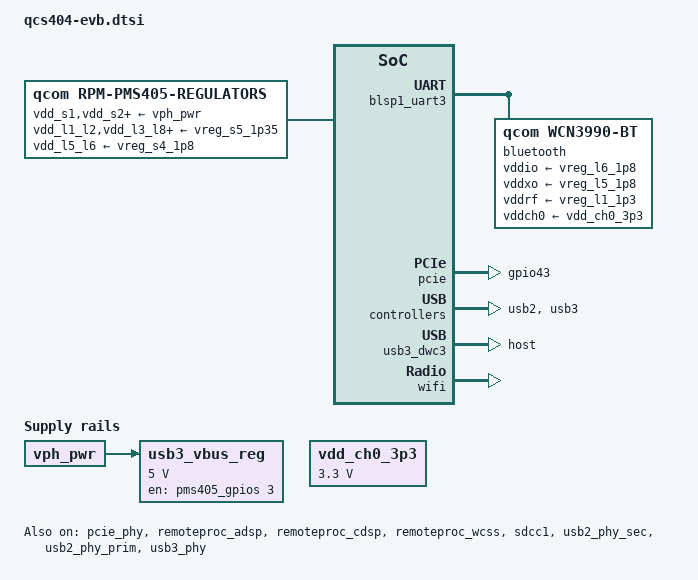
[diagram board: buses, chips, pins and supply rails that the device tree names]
// SPDX-License-Identifier: GPL-2.0
// Copyright (c) 2018, Linaro Limited

#include <dt-bindings/gpio/gpio.h>
#include "qcs404.dtsi"
#include "pms405.dtsi"
#include <dt-bindings/gpio/gpio.h>
#include <dt-bindings/pinctrl/qcom,pmic-gpio.h>

/ {
	aliases {
		serial0 = &blsp1_uart2;
		serial1 = &blsp1_uart3;
	};

	chosen {
		stdout-path = "serial0";
	};

	vph_pwr: vph-pwr-regulator {
		compatible = "regulator-fixed";
		regulator-name = "vph_pwr";
		regulator-always-on;
		regulator-boot-on;
	};

	vdd_ch0_3p3:
	vdd_esmps3_3p3: vdd-esmps3-3p3-regulator {
		compatible = "regulator-fixed";
		regulator-name = "eSMPS3_3P3";

		regulator-min-microvolt = <3300000>;
		regulator-max-microvolt = <3300000>;
		regulator-always-on;
	};

	usb3_vbus_reg: regulator-usb3-vbus {
		compatible = "regulator-fixed";
		regulator-name = "VBUS_BOOST_5V";
		regulator-min-microvolt = <5000000>;
		regulator-max-microvolt = <5000000>;
		gpio = <&pms405_gpios 3 GPIO_ACTIVE_HIGH>;
		pinctrl-names = "default";
		pinctrl-0 = <&usb_vbus_boost_pin>;
		vin-supply = <&vph_pwr>;
		enable-active-high;

		/* TODO: Drop this when introducing role switching */
		regulator-always-on;
	};
};

&blsp1_uart3 {
	status = "okay";

	bluetooth {
		compatible = "qcom,wcn3990-bt";
		vddio-supply = <&vreg_l6_1p8>;
		vddxo-supply = <&vreg_l5_1p8>;
		vddrf-supply = <&vreg_l1_1p3>;
		vddch0-supply = <&vdd_ch0_3p3>;

		local-bd-address = [ 00 00 00 00 00 00 ];

		max-speed = <3200000>;
	};
};

&blsp1_dma {
	qcom,controlled-remotely;
};

&blsp2_dma {
	qcom,controlled-remotely;
};

&gcc {
	protected-clocks = <GCC_BIMC_CDSP_CLK>,
			   <GCC_CDSP_CFG_AHB_CLK>,
			   <GCC_CDSP_BIMC_CLK_SRC>,
			   <GCC_CDSP_TBU_CLK>,
			   <141>, /* GCC_WCSS_Q6_AHB_CLK */
			   <142>; /* GCC_WCSS_Q6_AXIM_CLK */
};

&pms405_spmi_regulators {
	vdd_s3-supply = <&vph_pwr>;

	pms405_s3: s3 {
		regulator-always-on;
		regulator-boot-on;
		regulator-name = "vdd_apc";
		regulator-initial-mode = <1>;
		regulator-min-microvolt = <1048000>;
		regulator-max-microvolt = <1384000>;
	};
};

&pcie {
	status = "okay";

	perst-gpios = <&tlmm 43 GPIO_ACTIVE_LOW>;

	pinctrl-names = "default";
	pinctrl-0 = <&perst_state>;
};

&pcie_phy {
	status = "okay";

	vdda-vp-supply = <&vreg_l3_1p05>;
	vdda-vph-supply = <&vreg_l5_1p8>;
};

&remoteproc_adsp {
	status = "okay";
};

&remoteproc_cdsp {
	status = "okay";
};

&remoteproc_wcss {
	status = "okay";
};

&rpm_requests {
	pms405-regulators {
		compatible = "qcom,rpm-pms405-regulators";

		vdd_s1-supply = <&vph_pwr>;
		vdd_s2-supply = <&vph_pwr>;
		vdd_s3-supply = <&vph_pwr>;
		vdd_s4-supply = <&vph_pwr>;
		vdd_s5-supply = <&vph_pwr>;
		vdd_l1_l2-supply = <&vreg_s5_1p35>;
		vdd_l3_l8-supply = <&vreg_s5_1p35>;
		vdd_l4-supply = <&vreg_s5_1p35>;
		vdd_l5_l6-supply = <&vreg_s4_1p8>;
		vdd_l7-supply = <&vph_pwr>;
		vdd_l9-supply = <&vreg_s5_1p35>;
		vdd_l10_l11_l12_l13-supply = <&vph_pwr>;

		vreg_s4_1p8: s4 {
			regulator-min-microvolt = <1728000>;
			regulator-max-microvolt = <1920000>;
		};

		vreg_s5_1p35: s5 {
			regulator-min-microvolt = <1352000>;
			regulator-max-microvolt = <1352000>;
		};

		vreg_l1_1p3: l1 {
			regulator-min-microvolt = <1240000>;
			regulator-max-microvolt = <1352000>;
		};

		vreg_l2_1p275: l2 {
			regulator-min-microvolt = <1048000>;
			regulator-max-microvolt = <1280000>;
		};

		vreg_l3_1p05: l3 {
			regulator-min-microvolt = <1048000>;
			regulator-max-microvolt = <1160000>;
		};

		vreg_l4_1p2: l4 {
			regulator-min-microvolt = <1144000>;
			regulator-max-microvolt = <1256000>;
		};

		vreg_l5_1p8: l5 {
			regulator-min-microvolt = <1800000>;
			regulator-max-microvolt = <1800000>;
		};

		vreg_l6_1p8: l6 {
			regulator-min-microvolt = <1800000>;
			regulator-max-microvolt = <1800000>;
			regulator-always-on;
		};

		vreg_l7_1p8: l7 {
			regulator-min-microvolt = <1616000>;
			regulator-max-microvolt = <3000000>;
		};

		vreg_l8_1p2: l8 {
			regulator-min-microvolt = <1136000>;
			regulator-max-microvolt = <1352000>;
		};

		vreg_l10_3p3: l10 {
			regulator-min-microvolt = <2936000>;
			regulator-max-microvolt = <3088000>;
		};

		vreg_l11_sdc2: l11 {
			regulator-min-microvolt = <2696000>;
			regulator-max-microvolt = <3304000>;
		};

		vreg_l12_3p3: l12 {
			regulator-min-microvolt = <3050000>;
			regulator-max-microvolt = <3300000>;
		};

		vreg_l13_3p3: l13 {
			regulator-min-microvolt = <3000000>;
			regulator-max-microvolt = <3300000>;
		};
	};
};

&sdcc1 {
	status = "okay";

	supports-cqe;
	mmc-ddr-1_8v;
	mmc-hs400-1_8v;
	bus-width = <8>;
	non-removable;

	pinctrl-names = "default", "sleep";
	pinctrl-0 = <&sdc1_on>;
	pinctrl-1 = <&sdc1_off>;
};

&tlmm {
	perst_state: perst {
		pins = "gpio43";
		function = "gpio";

		drive-strength = <2>;
		bias-disable;
		output-low;
	};

	sdc1_on: sdc1-on {
		clk {
			pins = "sdc1_clk";
			bias-disable;
			drive-strength = <16>;
		};

		cmd {
			pins = "sdc1_cmd";
			bias-pull-up;
			drive-strength = <10>;
		};

		data {
			pins = "sdc1_data";
			bias-pull-up;
			drive-strength = <10>;
		};

		rclk {
			pins = "sdc1_rclk";
			bias-pull-down;
		};
	};

	sdc1_off: sdc1-off {
		clk {
			pins = "sdc1_clk";
			bias-disable;
			drive-strength = <2>;
		};

		cmd {
			pins = "sdc1_cmd";
			bias-pull-up;
			drive-strength = <2>;
		};

		data {
			pins = "sdc1_data";
			bias-pull-up;
			drive-strength = <2>;
		};

		rclk {
			pins = "sdc1_rclk";
			bias-pull-down;
		};
	};

	usb3_id_pin: usb3-id-pin {
		pinmux {
			pins = "gpio116";
			function = "gpio";
		};

		pinconf {
			pins = "gpio116";
			drive-strength = <2>;
			bias-pull-up;
			input-enable;
		};
	};
};

&pms405_gpios {
	usb_vbus_boost_pin: usb-vbus-boost-state {
		pinconf {
			pins = "gpio3";
			function = PMIC_GPIO_FUNC_NORMAL;
			output-low;
			power-source = <1>;
		};
	};
	usb3_vbus_pin: usb3-vbus-state {
		pinconf {
			pins = "gpio12";
			function = PMIC_GPIO_FUNC_NORMAL;
			input-enable;
			bias-pull-down;
			power-source = <1>;
		};
	};
};

&usb2 {
	status = "okay";
};

&usb2_phy_sec {
	vdd-supply = <&vreg_l4_1p2>;
	vdda1p8-supply = <&vreg_l5_1p8>;
	vdda3p3-supply = <&vreg_l12_3p3>;
	status = "okay";
};

&usb3 {
	status = "okay";

};

&usb3_dwc3 {
	dr_mode = "host";
};

&usb2_phy_prim {
	vdd-supply = <&vreg_l4_1p2>;
	vdda1p8-supply = <&vreg_l5_1p8>;
	vdda3p3-supply = <&vreg_l12_3p3>;
	status = "okay";
};

&usb3_phy {
	vdd-supply = <&vreg_l3_1p05>;
	vdda1p8-supply = <&vreg_l5_1p8>;
	status = "okay";
};

&wifi {
	status = "okay";
	vdd-0.8-cx-mx-supply = <&vreg_l2_1p275>;
	vdd-1.8-xo-supply = <&vreg_l5_1p8>;
	vdd-1.3-rfa-supply = <&vreg_l1_1p3>;
};

/* PINCTRL - additions to nodes defined in qcs404.dtsi */

&blsp1_uart2_default {
	rx {
		drive-strength = <2>;
		bias-disable;
	};

	tx {
		drive-strength = <2>;
		bias-disable;
	};
};

&blsp1_uart3_default {
	cts {
		pins = "gpio84";
		bias-disable;
	};

	rts-tx {
		pins = "gpio85", "gpio82";
		drive-strength = <2>;
		bias-disable;
	};

	rx {
		pins = "gpio83";
		bias-pull-up;
	};
};
